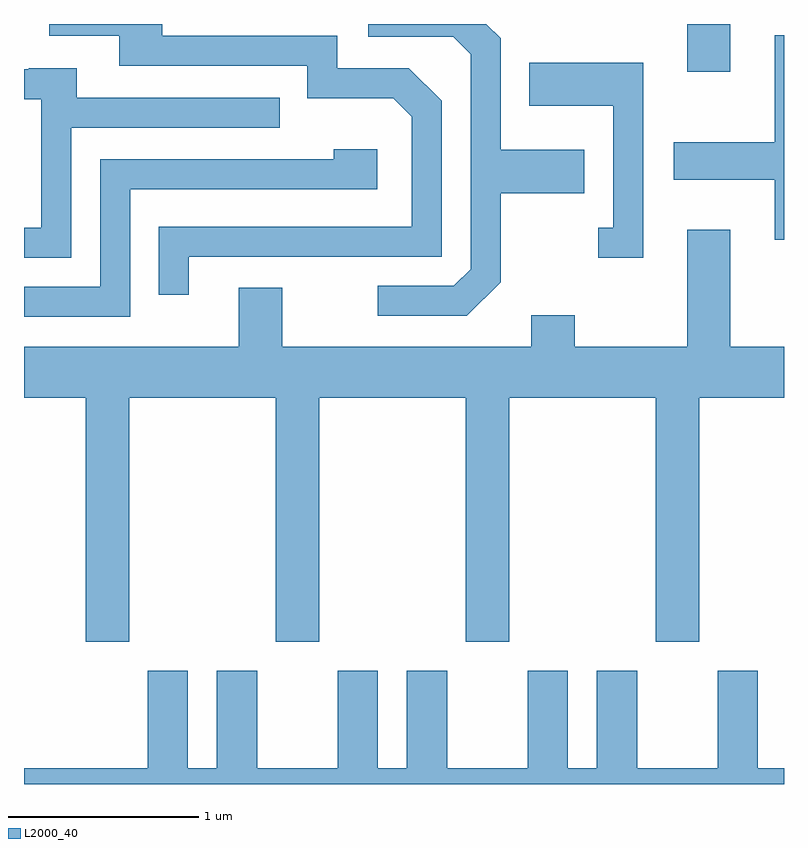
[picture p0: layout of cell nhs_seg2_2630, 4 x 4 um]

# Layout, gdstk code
import gdstk
lib = gdstk.Library(unit=1e-6, precision=1e-09)
def R(c, l, rs):  # rectangles x0, y0, x1, y1
    for r in rs: c.add(gdstk.rectangle(r[:2], r[2:], *l))
def P(c, l, *ps):  # polygons
    for p in ps: c.add(gdstk.Polygon(p, *l))
L2000_40 = (2000, 40)

nhs_seg2_2630 = lib.new_cell('nhs_seg2_2630')
R(nhs_seg2_2630, L2000_40, [(265.101,1085.551,265.329,1085.802)])
P(nhs_seg2_2630, L2000_40, [(264.119,1084.444),(264.119,1084.911),(264.559,1084.911),(264.559,1085.139),(264.119,1085.139),(264.119,1085.727),(264.044,1085.802),(263.423,1085.802),(263.423,1085.736),(263.869,1085.736),(263.961,1085.644),(263.961,1084.512),(263.874,1084.424),(263.473,1084.424),(263.473,1084.266),(263.942,1084.266)],
  [(262.479,1084.576),(263.809,1084.576),(263.809,1085.397),(263.637,1085.569),(263.259,1085.569),(263.259,1085.739),(262.339,1085.739),(262.339,1085.802),(261.743,1085.802),(261.743,1085.741),(262.111,1085.741),(262.111,1085.581),(263.101,1085.581),(263.101,1085.411),(263.554,1085.411),(263.651,1085.314),(263.651,1084.734),(262.321,1084.734),(262.321,1084.378),(262.479,1084.378)],
  [(265.611,1085.744),(265.561,1085.744),(265.561,1085.179),(265.031,1085.179),(265.031,1084.981),(265.561,1084.981),(265.561,1084.666),(265.611,1084.666)],
  [(264.869,1085.599),(264.271,1085.599),(264.271,1085.371),(264.711,1085.371),(264.711,1084.729),(264.633,1084.729),(264.633,1084.571),(264.869,1084.571)],
  [(261.859,1085.256),(262.958,1085.256),(262.958,1085.414),(261.889,1085.414),(261.889,1085.569),(261.635,1085.569),(261.635,1085.564),(261.611,1085.564),(261.611,1085.406),(261.701,1085.406),(261.701,1084.729),(261.611,1084.729),(261.611,1084.571),(261.859,1084.571)],
  [(262.169,1084.931),(263.469,1084.931),(263.469,1085.144),(263.241,1085.144),(263.241,1085.089),(262.011,1085.089),(262.011,1084.419),(261.611,1084.419),(261.611,1084.261),(262.169,1084.261)],
  [(262.164,1083.836),(262.936,1083.836),(262.936,1082.551),(263.164,1082.551),(263.164,1083.836),(263.936,1083.836),(263.936,1082.551),(264.164,1082.551),(264.164,1083.836),(264.936,1083.836),(264.936,1082.551),(265.164,1082.551),(265.164,1083.836),(265.611,1083.836),(265.611,1084.104),(265.329,1084.104),(265.329,1084.719),(265.101,1084.719),(265.101,1084.104),(264.509,1084.104),(264.509,1084.269),(264.281,1084.269),(264.281,1084.104),(262.969,1084.104),(262.969,1084.414),(262.741,1084.414),(262.741,1084.104),(261.611,1084.104),(261.611,1083.836),(261.936,1083.836),(261.936,1082.551),(262.164,1082.551)],
  [(265.611,1081.884),(265.474,1081.884),(265.474,1082.399),(265.261,1082.399),(265.261,1081.884),(264.839,1081.884),(264.839,1082.399),(264.626,1082.399),(264.626,1081.884),(264.474,1081.884),(264.474,1082.399),(264.261,1082.399),(264.261,1081.884),(263.839,1081.884),(263.839,1082.399),(263.626,1082.399),(263.626,1081.884),(263.474,1081.884),(263.474,1082.399),(263.261,1082.399),(263.261,1081.884),(262.839,1081.884),(262.839,1082.399),(262.626,1082.399),(262.626,1081.884),(262.474,1081.884),(262.474,1082.399),(262.261,1082.399),(262.261,1081.884),(261.611,1081.884),(261.611,1081.802),(265.611,1081.802)])

lib.write_gds('nhs_seg2_2630.gds')
